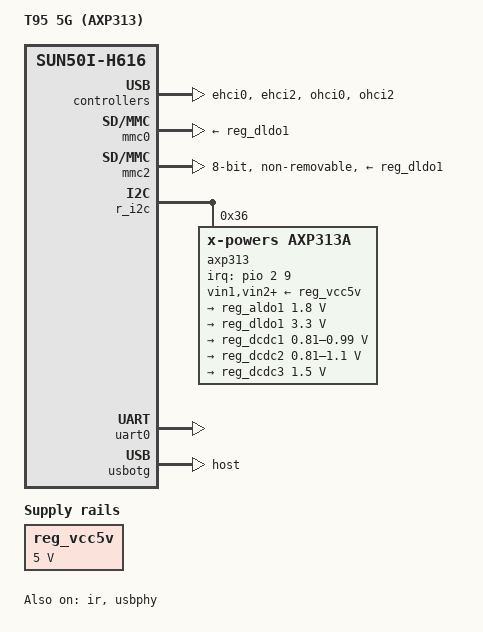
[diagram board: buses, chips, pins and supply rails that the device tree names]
// SPDX-License-Identifier: (GPL-2.0+ OR MIT)
/*
 * Copyright (C) 2024 Kamil Kasperski <ressetkk@gmail.com>
 */

/dts-v1/;

#include "sun50i-h616.dtsi"

#include <dt-bindings/gpio/gpio.h>
#include <dt-bindings/interrupt-controller/arm-gic.h>

/ {
	model = "T95 5G (AXP313)";
	compatible = "t95,t95-axp313", "allwinner,sun50i-h616";

	aliases {
		serial0 = &uart0;
	};

	chosen {
		stdout-path = "serial0:115200n8";
	};

	reg_vcc5v: vcc5v {
		/* board wide 5V supply directly from the DC input */
		compatible = "regulator-fixed";
		regulator-name = "vcc-5v";
		regulator-min-microvolt = <5000000>;
		regulator-max-microvolt = <5000000>;
		regulator-always-on;
	};
};

&ehci0 {
	status = "okay";
};

&ehci2 {
	status = "okay";
};

&ir {
	status = "okay";
};

&mmc0 {
	broken-cd;
	vmmc-supply = <&reg_dldo1>;
	status = "okay";
};

&mmc2 {
	vmmc-supply = <&reg_dldo1>;
	bus-width = <8>;
	non-removable;
	cap-mmc-hw-reset;
	status = "okay";
};

&ohci0 {
	status = "okay";
};

&ohci2 {
	status = "okay";
};

&r_i2c {
	status = "okay";

	axp313: pmic@36 {
		compatible = "x-powers,axp313a";
		reg = <0x36>;
		#interrupt-cells = <1>;
		interrupt-controller;
		interrupt-parent = <&pio>;
		interrupts = <2 9 IRQ_TYPE_LEVEL_LOW>;	/* PC9 */

		vin1-supply = <&reg_vcc5v>;
		vin2-supply = <&reg_vcc5v>;
		vin3-supply = <&reg_vcc5v>;

		regulators {
			/* Supplies VCC-PLL, so needs to be always on. */
			reg_aldo1: aldo1 {
				regulator-always-on;
				regulator-min-microvolt = <1800000>;
				regulator-max-microvolt = <1800000>;
				regulator-name = "vcc1v8";
			};

			/* Supplies VCC-IO, so needs to be always on. */
			reg_dldo1: dldo1 {
				regulator-always-on;
				regulator-min-microvolt = <3300000>;
				regulator-max-microvolt = <3300000>;
				regulator-name = "vcc3v3";
			};

			reg_dcdc1: dcdc1 {
				regulator-always-on;
				regulator-min-microvolt = <810000>;
				regulator-max-microvolt = <990000>;
				regulator-name = "vdd-gpu-sys";
			};

			reg_dcdc2: dcdc2 {
				regulator-always-on;
				regulator-min-microvolt = <810000>;
				regulator-max-microvolt = <1100000>;
				regulator-name = "vdd-cpu";
			};

			reg_dcdc3: dcdc3 {
				regulator-always-on;
				regulator-min-microvolt = <1500000>;
				regulator-max-microvolt = <1500000>;
				regulator-name = "vdd-dram";
			};
		};
	};
};

&uart0 {
	pinctrl-names = "default";
	pinctrl-0 = <&uart0_ph_pins>;
	status = "okay";
};

&usbotg {
	dr_mode = "host";	/* USB A type receptable */
	status = "okay";
};

&usbphy {
	status = "okay";
};
